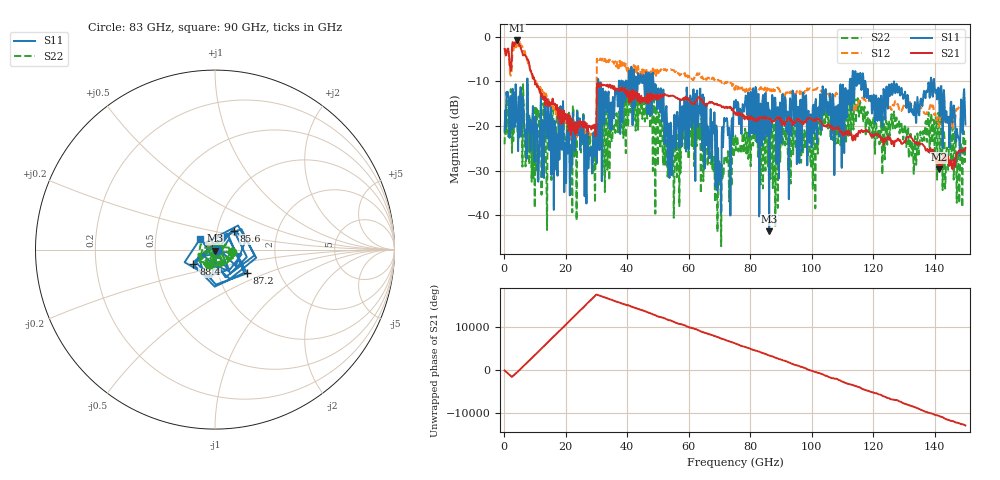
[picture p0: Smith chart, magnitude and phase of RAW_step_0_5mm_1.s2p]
!  2-Port S-parameters saved by WinCal
! VAR MeasName=S-Parameters (CALIBRATED_DATA) read from VNA (MS4647B)
! VAR MeasDate=27-Apr-22 16:12:27
! VAR NAME=RAW_stepline_0.5mm_1
! VAR FILENAME=RAW_stepline_0.5mm_1.S2P
! VAR DATE=27-Apr-22 16:12:27
! VAR PHYS_PORTS=1,2
! VAR ObjTypeName=DATASET
! VAR IndexType=Frequency
! VAR ChuckHeaterState=Unknown
! VAR ChuckTemp=NaN
! VAR ChuckTempUnits=Unknown
# Hz S RI R 50
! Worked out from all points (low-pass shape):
!   750 points, 200 MHz to 150 GHz, reference 50 ohm
!   highest |S21| = -0.85 dB at 4.2 GHz (marker M1); lowest = -29.7 dB at 141.4 GHz (marker M2)
!   |S21| within 3 dB of the highest: 715.4 MHz to 1.579 GHz (863.6 MHz wide, 75.3 % of centre); 2.541 GHz to 6.062 GHz (3.521 GHz wide, 81.9 % of centre)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
!   lowest |S11| = -43.6 dB at 86.2 GHz (marker M3), VSWR 1.01, Z = 49.8 - j0.635 ohm
!   |S11| at or under -10 dB: 7.619 GHz to 30.59 GHz (22.97 GHz wide, 120 % of centre); 48.58 GHz to 112.4 GHz (63.85 GHz wide, 79.3 % of centre); 126.8 GHz to 138.7 GHz (11.93 GHz wide, 8.99 % of centre)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
!   |S22| runs from -46.9 to -10.6 dB; largest |S21 - S12| = 1.8
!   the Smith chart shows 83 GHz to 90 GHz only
!   S11 on the Smith chart (normalised r, x): 83 GHz: 1.02, -0.01; 85.6 GHz: 1.21, +0.26; 87.2 GHz: 1.37, -0.38; 88.4 GHz: 0.78, -0.13; 90 GHz: 0.84, +0.10
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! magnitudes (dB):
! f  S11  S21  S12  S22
! 200 MHz  -21.2  -2.7  -2.6  -24.1
! 4.2 GHz  -18.4  -0.8  -1.4  -17.4
! 25.2 GHz  -19.4  -19.6  -21.3  -21.6
! 29.4 GHz  -26.8  -19.7  -21.3  -28.0
! 30.8 GHz  -10.5  -11.3  -5.1  -17.6
! 50.2 GHz  -11.6  -13.6  -8.2  -17.0
! 54 GHz  -20.0  -13.3  -7.5  -25.7
! 63.4 GHz  -15.5  -13.5  -8.4  -19.5
! 70 GHz  -28.5  -15.4  -10.0  -27.9
! 75.2 GHz  -15.8  -17.0  -11.3  -22.1
! 83 GHz  -40.3  -18.2  -11.7  -20.2
! 85.6 GHz  -16.6  -18.4  -11.5  -23.9
! 86.2 GHz  -43.6  -18.4  -11.8  -20.5
! 87.2 GHz  -13.1  -19.2  -12.7  -19.3
! 88.4 GHz  -16.7  -18.5  -11.6  -21.5
! 90 GHz  -19.8  -18.3  -12.3  -20.8
! 100.2 GHz  -19.1  -18.5  -11.8  -23.9
! 104.6 GHz  -11.7  -20.1  -12.6  -19.0
! 125.2 GHz  -10.7  -23.1  -16.4  -18.8
! 141.4 GHz  -11.9  -29.7  -20.1  -17.9
! 147.6 GHz  -22.3  -25.9  -16.1  -26.3
! 150 GHz  -19.7  -24.9  -15.7  -23.2
